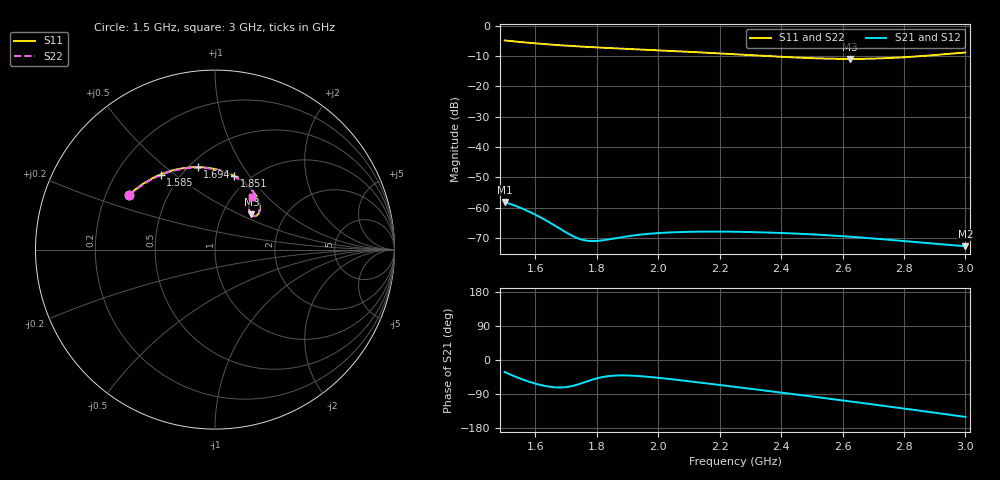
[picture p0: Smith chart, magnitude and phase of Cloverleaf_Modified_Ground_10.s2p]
! TOUCHSTONE file generated by CST MICROWAVE STUDIO
! Date and time: Tue Jan 14 09:22:22 2020
! Project name: Cloverleaf_Modified_Ground_10.cst
! Parameters = {A=0.0005; Dgp=0.033; Lgp=0.1; Lhorn=0.03; Lmax=0.015; Lmin=0.001; b=90.2683; dLhorn=1000}
! Header version: 2015
! Port assignment regex: !\s*Touchstone port\s*([0-9]+)\s*=\s*CST MWS port\s*([0-9]+)\s*\(\"(.*)\"\)(\s*mode\s*([0-9]+))?.*
! Touchstone port assignment:
! Touchstone port 1 = CST MWS port 1 ("")
! Touchstone port 2 = CST MWS port 2 ("")
# Hz S MA R 100
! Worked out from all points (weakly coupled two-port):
!   1003 points, 1.5 GHz to 3 GHz, reference 100 ohm
!   highest |S21| = -58.14 dB at 1.5 GHz (marker M1); lowest = -72.7 dB at 3 GHz (marker M2)
!   lowest |S11| = -11.0 dB at 2.625 GHz (marker M3), VSWR 1.79, Z = 137 + j58.2 ohm
!   |S11| at or under -10 dB: 2.347 GHz to 2.864 GHz (517.7 MHz wide, 19.9 % of centre)
!   |S22| runs from -11.0 to -4.9 dB; largest |S21 - S12| = 2e-06
!   S11 on the Smith chart (normalised r, x): 1.5 GHz: 0.30, +0.27; 1.585 GHz: 0.39, +0.45; 1.694 GHz: 0.55, +0.65; 1.851 GHz: 0.85, +0.85; 3 GHz: 1.22, +0.83
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1.5e9  0.5684 147.8  0.001238 -31.5  0.00124 -31.6  0.566 147.8
1.5105e9  0.5613 145.0  0.00119 -35.5  0.001191 -35.5  0.5588 145.1
1.5375e9  0.544 138.0  0.001061 -44.9  0.001062 -44.9  0.5413 138.1
1.5855e9  0.5168 126.0  0.0008336 -58.8  0.0008337 -58.8  0.514 126.1
1.6365e9  0.4924 114.0  0.0006103 -69.2  0.0006106 -69.2  0.4897 114.3
1.6935e9  0.4696 101.9  0.0004095 -72.0  0.0004092 -72.0  0.4674 102.1
1.725e9  0.4587 95.8  0.0003349 -67.7  0.000334 -67.7  0.4568 96.0
1.7505e9  0.4506 91.1  0.0002986 -61.4  0.0002973 -61.4  0.4489 91.3
1.77e9  0.4448 87.8  0.000285 -56.0  0.0002837 -55.8  0.4432 87.9
1.791e9  0.4389 84.3  0.0002817 -50.5  0.0002807 -50.2  0.4374 84.5
1.815e9  0.4325 80.6  0.0002882 -45.6  0.0002875 -45.3  0.4311 80.7
1.851e9  0.4236 75.3  0.0003079 -41.5  0.0003078 -41.3  0.4223 75.4
1.926e9  0.4066 65.9  0.0003522 -41.8  0.0003523 -41.7  0.4054 65.9
2.001e9  0.3905 58.1  0.0003819 -47.0  0.0003815 -47.1  0.3893 58.0
2.1165e9  0.3659 48.9  0.0004017 -57.7  0.0004003 -57.8  0.3645 48.8
2.25e9  0.3367 42.2  0.0004012 -70.9  0.0003997 -70.9  0.3352 42.0
2.376e9  0.3104 39.4  0.0003871 -83.5  0.0003862 -83.5  0.3089 39.3
2.5005e9  0.2903 40.2  0.0003635 -96.3  0.0003634 -96.3  0.2886 40.1
2.625e9  0.2822 44.0  0.0003323 -109.3  0.0003325 -109.3  0.2803 43.8
2.751e9  0.2917 49.1  0.0002962 -122.8  0.0002961 -122.8  0.2895 49.0
2.877e9  0.3198 53.1  0.0002609 -136.6  0.0002605 -136.6  0.3173 53.1
3e9  0.3606 54.6  0.0002323 -150.2  0.0002321 -149.7  0.3579 54.6
